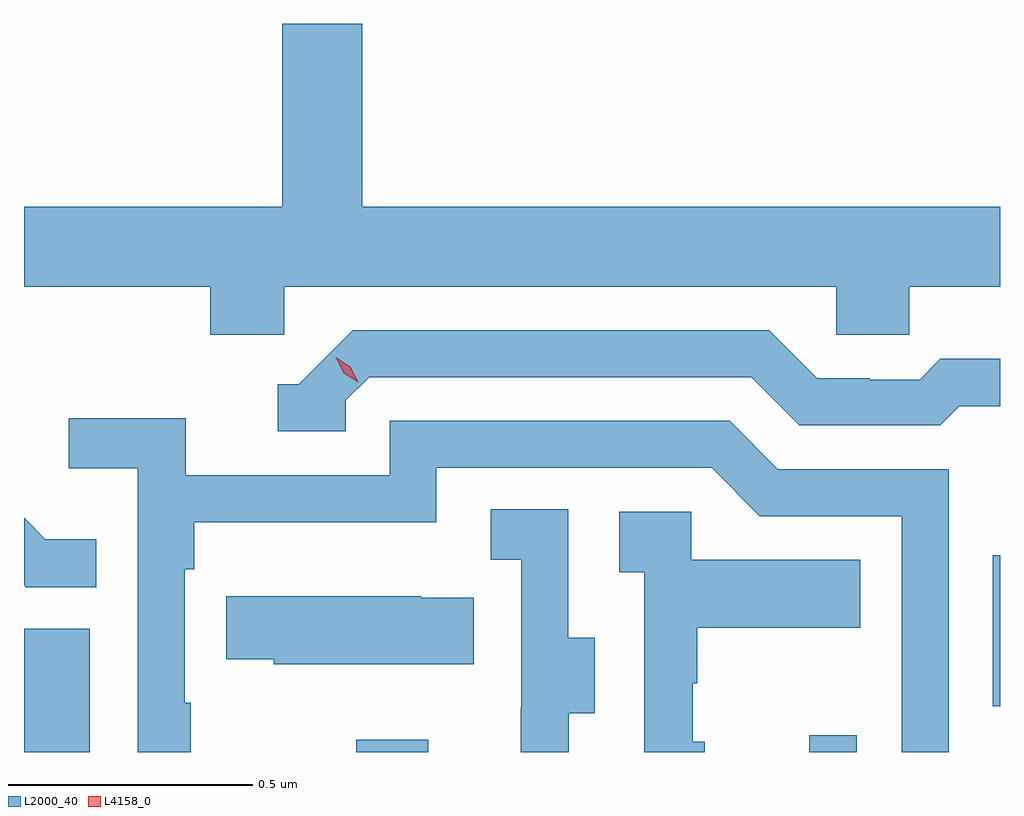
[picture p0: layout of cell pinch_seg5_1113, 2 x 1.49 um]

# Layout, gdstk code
import gdstk
lib = gdstk.Library(unit=1e-6, precision=1e-09)
def R(c, l, rs):  # rectangles x0, y0, x1, y1
    for r in rs: c.add(gdstk.rectangle(r[:2], r[2:], *l))
def P(c, l, *ps):  # polygons
    for p in ps: c.add(gdstk.Polygon(p, *l))
L2000_40 = (2000, 40)
L4158_0 = (4158, 0)

pinch_seg5_1113 = lib.new_cell('pinch_seg5_1113')
R(pinch_seg5_1113, L2000_40, [(859.783,862.466,859.918,862.719), (860.464,862.466,860.611,862.492), (861.392,862.466,861.489,862.501), (861.768,862.56,861.783,862.87)])
P(pinch_seg5_1113, L2000_40, [(860.312,863.584),(859.783,863.584),(859.783,863.42),(860.165,863.42),(860.165,863.322),(860.316,863.322),(860.316,863.42),(861.447,863.42),(861.447,863.322),(861.597,863.322),(861.597,863.42),(861.783,863.42),(861.783,863.584),(860.476,863.584),(860.476,863.959),(860.312,863.959)],
  [(860.442,863.187),(860.49,863.235),(861.273,863.235),(861.372,863.136),(861.661,863.136),(861.7,863.175),(861.783,863.175),(861.783,863.272),(861.661,863.272),(861.619,863.229),(861.516,863.229),(861.516,863.232),(861.409,863.232),(861.31,863.331),(860.457,863.331),(860.346,863.22),(860.303,863.22),(860.303,863.124),(860.442,863.124)],
  [(860.125,862.568),(860.112,862.568),(860.112,862.841),(860.132,862.841),(860.132,862.937),(860.628,862.937),(860.628,863.049),(861.192,863.049),(861.291,862.95),(861.582,862.95),(861.582,862.466),(861.678,862.466),(861.678,863.046),(861.328,863.046),(861.229,863.145),(860.532,863.145),(860.532,863.034),(860.114,863.034),(860.114,863.15),(859.875,863.15),(859.875,863.048),(860.016,863.048),(860.016,862.466),(860.125,862.466)],
  [(860.899,862.546),(860.953,862.546),(860.953,862.701),(860.898,862.701),(860.898,862.964),(860.739,862.964),(860.739,862.861),(860.802,862.861),(860.802,862.557),(860.801,862.557),(860.801,862.466),(860.899,862.466)],
  [(861.178,862.488),(861.153,862.488),(861.153,862.607),(861.163,862.607),(861.163,862.721),(861.497,862.721),(861.497,862.861),(861.15,862.861),(861.15,862.959),(861.003,862.959),(861.003,862.835),(861.054,862.835),(861.054,862.466),(861.178,862.466)],
  [(859.931,862.903),(859.827,862.903),(859.783,862.947),(859.783,862.808),(859.787,862.804),(859.931,862.804)],
  [(860.705,862.783),(860.597,862.783),(860.597,862.786),(860.197,862.786),(860.197,862.657),(860.295,862.657),(860.295,862.646),(860.705,862.646)])
P(pinch_seg5_1113, L4158_0, [(860.468,863.224),(860.438,863.243),(860.422,863.276),(860.422,863.276),(860.422,863.276),(860.452,863.256),(860.468,863.224),(860.468,863.224)])

lib.write_gds('pinch_seg5_1113.gds')
